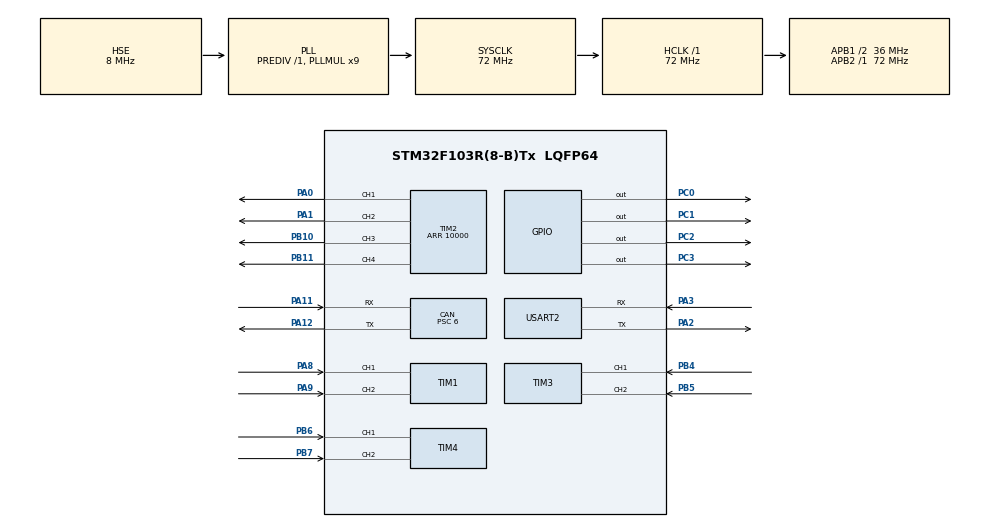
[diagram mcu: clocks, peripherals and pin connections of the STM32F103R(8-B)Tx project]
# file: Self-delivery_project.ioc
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CAN.BS1=CAN_BS1_10TQ
CAN.CalculateBaudRate=499999
CAN.CalculateTimeBit=2000
CAN.CalculateTimeQuantum=166.66666666666669
CAN.Prescaler=6
Mcu.Family=STM32F1
Mcu.Name=STM32F103R(8-B)Tx
Mcu.Package=LQFP64
NVIC.CAN1_RX1_IRQn=true\:0\:0\:false\:false\:true\:true\:true\:true
NVIC.PriorityGroup=NVIC_PRIORITYGROUP_4
NVIC.USB_HP_CAN1_TX_IRQn=true\:0\:0\:false\:false\:true\:true\:true\:true
NVIC.USB_LP_CAN1_RX0_IRQn=true\:0\:0\:false\:false\:true\:true\:true\:true
PA0-WKUP.Signal=S_TIM2_CH1_ETR
PA1.Signal=S_TIM2_CH2
PA11.Mode=CAN_Activate
PA11.Signal=CAN_RX
PA12.Mode=CAN_Activate
PA12.Signal=CAN_TX
PA13.Mode=Serial_Wire
PA13.Signal=SYS_JTMS-SWDIO
PA14.Mode=Serial_Wire
PA14.Signal=SYS_JTCK-SWCLK
PA2.Mode=Asynchronous
PA2.Signal=USART2_TX
PA3.Mode=Asynchronous
PA3.Signal=USART2_RX
PA8.Signal=S_TIM1_CH1
PA9.Signal=S_TIM1_CH2
PB10.Signal=S_TIM2_CH3
PB11.Signal=S_TIM2_CH4
PB4.Signal=S_TIM3_CH1
PB5.Signal=S_TIM3_CH2
PB6.Signal=S_TIM4_CH1
PB7.Signal=S_TIM4_CH2
PC0.GPIO_Speed=GPIO_SPEED_FREQ_MEDIUM
PC0.Signal=GPIO_Output
PC1.GPIO_Speed=GPIO_SPEED_FREQ_MEDIUM
PC1.Signal=GPIO_Output
PC2.GPIO_Speed=GPIO_SPEED_FREQ_MEDIUM
PC2.Signal=GPIO_Output
PC3.GPIO_Speed=GPIO_SPEED_FREQ_MEDIUM
PC3.Signal=GPIO_Output
PD0-OSC_IN.Mode=HSE-External-Oscillator
PD0-OSC_IN.Signal=RCC_OSC_IN
PD1-OSC_OUT.Mode=HSE-External-Oscillator
PD1-OSC_OUT.Signal=RCC_OSC_OUT
ProjectManager.HeapSize=0x200
ProjectManager.StackSize=0x400
ProjectManager.TargetToolchain=STM32CubeIDE
RCC.AHBFreq_Value=72000000
RCC.APB1CLKDivider=RCC_HCLK_DIV2
RCC.APB1Freq_Value=36000000
RCC.APB1TimFreq_Value=72000000
RCC.APB2Freq_Value=72000000
RCC.APB2TimFreq_Value=72000000
RCC.HCLKFreq_Value=72000000
RCC.PLLMUL=RCC_PLL_MUL9
RCC.PLLSourceVirtual=RCC_PLLSOURCE_HSE
RCC.SYSCLKFreq_VALUE=72000000
RCC.SYSCLKSource=RCC_SYSCLKSOURCE_PLLCLK
RCC.USBFreq_Value=72000000
SH.S_TIM1_CH1.0=TIM1_CH1,Encoder_Interface
SH.S_TIM1_CH2.0=TIM1_CH2,Encoder_Interface
SH.S_TIM2_CH1_ETR.0=TIM2_CH1,PWM Generation1 CH1
SH.S_TIM2_CH2.0=TIM2_CH2,PWM Generation2 CH2
SH.S_TIM2_CH3.0=TIM2_CH3,PWM Generation3 CH3
SH.S_TIM2_CH4.0=TIM2_CH4,PWM Generation4 CH4
SH.S_TIM3_CH1.0=TIM3_CH1,Encoder_Interface
SH.S_TIM3_CH2.0=TIM3_CH2,Encoder_Interface
SH.S_TIM4_CH1.0=TIM4_CH1,Encoder_Interface
SH.S_TIM4_CH2.0=TIM4_CH2,Encoder_Interface
TIM1.EncoderMode=TIM_ENCODERMODE_TI12
TIM2.Channel-PWM\ Generation1\ CH1=TIM_CHANNEL_1
TIM2.Channel-PWM\ Generation2\ CH2=TIM_CHANNEL_2
TIM2.Channel-PWM\ Generation3\ CH3=TIM_CHANNEL_3
TIM2.Channel-PWM\ Generation4\ CH4=TIM_CHANNEL_4
TIM2.Period=10000
TIM3.EncoderMode=TIM_ENCODERMODE_TI12
TIM4.EncoderMode=TIM_ENCODERMODE_TI12
USART2.VirtualMode=VM_ASYNC
board=custom

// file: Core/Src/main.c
/* USER CODE BEGIN Header */
/**
  ******************************************************************************
  * @file    main.c
  * @brief   STM32 모터 슬레이브 — CAN 수신 + 메카넘 4륜 독립 제어 (v4)
  ******************************************************************************
  *
  *  CAN 수신 (Pi -> STM32, ID 0x123, DLC 8):
  *    Byte 0-1: int16_t FL   Byte 2-3: int16_t FR
  *    Byte 4-5: int16_t RL   Byte 6-7: int16_t RR      (-9999 ~ +9999)
  *
  *  CAN 송신 (STM32 -> Pi, ID 0x124):
  *    USE_RR_ENCODER 0 -> DLC 4 : [FL ticks][FR ticks]
  *    USE_RR_ENCODER 1 -> DLC 6 : [FL][FR][RR]
  *
  *  메인 루프 타이밍:
  *    10ms : Motor_PID_Update()        엔코더 -> PID -> PWM
  *    20ms : Motor_Send_Feedback_CAN() 엔코더 틱 -> Pi
  *   1000ms: 상태 요약 1줄
  *
  *  ══════════════════════════════════════════════════════════════════════
  *  ★ v4 에서 고친 것 (구버전 대비)
  *  ══════════════════════════════════════════════════════════════════════
  *
  *  [1] PWM 시작을 TIM2 4채널로
  *      구: HAL_TIM_PWM_Start(&htim1, CH1/CH2) + (&htim2, CH1/CH2)
  *      신: HAL_TIM_PWM_Start(&htim2, CH1~CH4)
  *      TIM1 은 Encoder Mode 가 되었으므로 PWM_Start 를 호출하면
  *      엔코더 입력이 망가집니다. 반드시 지워야 합니다.
  *
  *  [2] ★ CAN 수신마다 찍던 printf 제거 — 이게 제일 중요합니다
  *      구: while(1) 안에서 CAN 이 올 때마다
  *          printf("[CAN RX] FL=%+6d ...") 를 호출
  *      문제: 약 45자 x 115200 baud = **3.9 ms 블로킹**.
  *            Pi 가 50 Hz(20 ms)로 보내므로 루프 시간의 20% 를 UART 가 먹습니다.
  *            10 ms PID 주기가 그만큼 밀리고, 최악에는 건너뜁니다.
  *            UART 가 물리적으로 막히면 HAL_MAX_DELAY 로 영원히 갇혀
  *            PID 도 워치독도 멈춥니다 = 마지막 PWM 유지 = 폭주.
  *      신: 완전 제거. 진단은 1 Hz 요약으로만.
  *
  *  [3] Error_Handler 에서 모터를 먼저 세움
  *      구: __disable_irq(); while(1){}   <- PWM 레지스터가 그대로 유지됨
  *          즉 에러가 나면 **마지막 속도로 계속 달립니다.**
  *      신: Motor_Stop() 을 먼저 호출한 뒤 정지.
  *
  *  [4] 부팅 배너에 버전/안전상한/이득을 출력
  *      "지금 보드에 어느 빌드가 올라가 있는가" 를 1초에 확인하기 위함.
  ******************************************************************************
  */
/* USER CODE END Header */
#include "main.h"
#include "can.h"
#include "tim.h"
#include "usart.h"
#include "gpio.h"

/* USER CODE BEGIN Includes */
#include "motor.h"
/* USER CODE END Includes */

/* USER CODE BEGIN PD */
#define STATUS_PRINT_PERIOD_MS   1000U

/**
 * ★ 디버그 UART 컴파일 스위치
 *
 *  1 : USART2(PA2/PA3) 사용. printf 동작.
 *  0 : printf 를 전부 무효화. USART2 를 ioc 에서 끈 경우 이걸로 두면
 *      usart.c/h 가 없어도 빌드가 통과합니다.
 *
 *  [왜 스위치를 두는가]
 *    이 프로젝트에서 ioc 와 코드가 어긋난 적이 여러 번 있었습니다.
 *    USART2 가 Disable 인 상태에서 재생성하면 MX_USART2_UART_Init 이
 *    사라져 링크 에러가 납니다. 그때 이 값을 0 으로 두면 즉시 빌드됩니다.
 */
#define DEBUG_UART               1

#if DEBUG_UART
  #include <stdio.h>
  #define DBG(...)   printf(__VA_ARGS__)
#else
  #define DBG(...)   ((void)0)
#endif
/* USER CODE END PD */

/* USER CODE BEGIN PV */
/* ★ volatile: 아래 4개는 CAN 수신 ISR 에서 쓰이고 메인 루프에서 읽힙니다.
 *   volatile 이 없으면 컴파일러가 "메인 루프에서 바뀌지 않는다" 고 판단해
 *   레지스터에 캐시해 버려, 새 명령을 영원히 못 보게 될 수 있습니다. */
volatile uint8_t dataReceived = 0;
volatile int16_t rxFL = 0;
volatile int16_t rxFR = 0;
volatile int16_t rxRL = 0;
volatile int16_t rxRR = 0;

/* 메인 루프 타이밍 */
static uint32_t last_pid_tick    = 0;
static uint32_t last_fb_tick     = 0;
static uint32_t last_status_tick = 0;
/* USER CODE END PV */

void SystemClock_Config(void);
/* USER CODE BEGIN PFP */
void CAN_filter(void);
/* USER CODE END PFP */

int main(void)
{

  /* MCU Configuration--------------------------------------------------------*/
  HAL_Init();

  SystemClock_Config();

  /* Initialize all configured peripherals */
  MX_GPIO_Init();
  MX_TIM1_Init();          /* ★ Encoder (RR). PWM 아님 */
  MX_TIM2_Init();          /* ★ PWM x4 */
  MX_CAN_Init();
#if DEBUG_UART
  MX_USART2_UART_Init();   /* PA2/PA3 디버그 UART */
#endif
  MX_TIM3_Init();          /* Encoder FL */
  MX_TIM4_Init();          /* Encoder FR */

  /* USER CODE BEGIN 2 */

  /* printf 버퍼링 비활성화 — 즉시 출력 보장 */
#if DEBUG_UART
  setvbuf(stdout, NULL, _IONBF, 0);
#endif

  /* ── 부팅 배너 ─────────────────────────────────────────────────────
   *  여기서만 길게 찍습니다. 주행 중에는 절대 이렇게 찍지 않습니다. */
  DBG("\r\n");
  DBG("========================================================\r\n");
  DBG("[BOOT] STM32 Motor v4  --  4ch independent mecanum\r\n");
  DBG("  PWM  TIM2  CH1=PA0(RL) CH2=PA1(RR) CH3=PB10(FL) CH4=PB11(FR)\r\n");
  DBG("  Enc  TIM3=FL  TIM4=FR  TIM1=%s\r\n",
         USE_RR_ENCODER ? "RR (active)" : "RR (reserved)");
  DBG("  CAN  RX 0x123 (DLC8)  TX 0x124 (DLC%d)\r\n",
         USE_RR_ENCODER ? 6 : 4);
  DBG("  SAFE PWM_MAX=%d  SLEW=%d/cycle  STALL=%lums  WD=%lums\r\n",
         (int)MOTOR_PWM_SAFE_MAX, (int)MOTOR_PWM_SLEW,
         (unsigned long)STALL_HOLD_MS, (unsigned long)CMD_TIMEOUT_MS);
  DBG("  CTRL CPR=%lu  MAX_RPM=%.0f  KP=%.2f KI=%.2f KD=%.2f\r\n",
         (unsigned long)ENCODER_CPR, (double)MOTOR_MAX_RPM,
         (double)MOTOR_KP, (double)MOTOR_KI, (double)MOTOR_KD);
  DBG("========================================================\r\n");

  /* ── CAN 준비 ─────────────────────────────────────────────────────── */
  CAN_filter();

  if (HAL_CAN_Start(&hcan) != HAL_OK)
    Error_Handler();

  if (HAL_CAN_ActivateNotification(&hcan, CAN_IT_RX_FIFO0_MSG_PENDING) != HAL_OK)
    Error_Handler();

  /* ── PWM 4채널 시작 — 전부 TIM2 ────────────────────────────────────
   *   TIM2_CH1 (PA0)  = RL
   *   TIM2_CH2 (PA1)  = RR
   *   TIM2_CH3 (PB10) = FL     ★ 구버전은 TIM1_CH1 (PA8)
   *   TIM2_CH4 (PB11) = FR     ★ 구버전은 TIM1_CH2 (PA9)          */
  HAL_TIM_PWM_Start(&htim2, TIM_CHANNEL_1);   /* RL */
  HAL_TIM_PWM_Start(&htim2, TIM_CHANNEL_2);   /* RR */
  HAL_TIM_PWM_Start(&htim2, TIM_CHANNEL_3);   /* FL */
  HAL_TIM_PWM_Start(&htim2, TIM_CHANNEL_4);   /* FR */

  /* ── 엔코더 시작 ──────────────────────────────────────────────────── */
  HAL_TIM_Encoder_Start(&htim3, TIM_CHANNEL_ALL);   /* FL  PB4,PB5 */
  HAL_TIM_Encoder_Start(&htim4, TIM_CHANNEL_ALL);   /* FR  PB6,PB7 */
#if USE_RR_ENCODER
  HAL_TIM_Encoder_Start(&htim1, TIM_CHANNEL_ALL);   /* RR  PA8,PA9 */
#endif

  /* ★ Motor_Init() 은 반드시 PWM_Start 이후.
   *   내부 s_hw_ready 게이트가 이 시점부터 PWM 레지스터 접근을 허용합니다. */
  Motor_Init();

  last_pid_tick    = HAL_GetTick();
  last_fb_tick     = HAL_GetTick();
  last_status_tick = HAL_GetTick();

  DBG("[SYSTEM] Ready. Waiting for CAN 0x123 ...\r\n\r\n");

  /* USER CODE END 2 */

  /* Infinite loop */
  while (1)
  {
    /* USER CODE BEGIN 3 */

    /* ── CAN 수신: 목표 갱신 ─────────────────────────────────────────
     *  ★ 여기에 printf 를 넣지 마십시오.
     *    45자 x 115200 baud = 3.9 ms 블로킹입니다. 50 Hz 로 들어오면
     *    루프의 20% 를 UART 가 먹어 10 ms PID 주기가 밀립니다.
     *    UART 가 막히면 HAL_MAX_DELAY 로 영원히 갇혀 PID/워치독이 멈추고
     *    마지막 PWM 이 그대로 유지됩니다 = 폭주.
     *    ISR 이 쓴 값을 지역 변수로 한 번에 복사해 원자성을 확보합니다. */
    if (dataReceived)
    {
      int16_t fl = rxFL, fr = rxFR, rl = rxRL, rr = rxRR;
      dataReceived = 0;
      Motor_Drive(fl, fr, rl, rr);
    }

    uint32_t now = HAL_GetTick();

    /* ── 10ms: 엔코더 + 워치독 + 스톨 + PID + PWM ────────────────────── */
    if ((now - last_pid_tick) >= PID_PERIOD_MS)
    {
      Motor_PID_Update();
      last_pid_tick = now;
    }

    /* ── 20ms: 엔코더 틱 -> Pi ───────────────────────────────────────── */
    if ((now - last_fb_tick) >= CAN_FEEDBACK_PERIOD_MS)
    {
      Motor_Send_Feedback_CAN();
      last_fb_tick = now;
    }

    /* ── 1000ms: 상태 요약 1줄 ────────────────────────────────────────
     *  1초에 1회 x 약 4 ms = 0.4% 부하. 이 정도는 안전합니다. */
    if ((now - last_status_tick) >= STATUS_PRINT_PERIOD_MS)
    {
      last_status_tick = now;
      if (Motor_Watchdog_IsTripped())
      {
        DBG("[WD] command timeout - motors held off\r\n");
      }
      if (Motor_Stall_IsTripped())
      {
        DBG("[STALL] wheel blocked - motors cut. "
               "release command (all zero) to reset\r\n");
      }
    }
  }
  /* USER CODE END 3 */
}

void SystemClock_Config(void)
{
  RCC_OscInitTypeDef RCC_OscInitStruct = {0};
  RCC_ClkInitTypeDef RCC_ClkInitStruct = {0};

  /** Initializes the RCC Oscillators according to the specified parameters
  * in the RCC_OscInitTypeDef structure.
  */
  RCC_OscInitStruct.OscillatorType = RCC_OSCILLATORTYPE_HSE;
  RCC_OscInitStruct.HSEState = RCC_HSE_ON;
  RCC_OscInitStruct.HSEPredivValue = RCC_HSE_PREDIV_DIV1;
  RCC_OscInitStruct.HSIState = RCC_HSI_ON;
  RCC_OscInitStruct.PLL.PLLState = RCC_PLL_ON;
  RCC_OscInitStruct.PLL.PLLSource = RCC_PLLSOURCE_HSE;
  RCC_OscInitStruct.PLL.PLLMUL = RCC_PLL_MUL9;
  if (HAL_RCC_OscConfig(&RCC_OscInitStruct) != HAL_OK)
  {
    Error_Handler();
  }

  /** Initializes the CPU, AHB and APB buses clocks
  */
  RCC_ClkInitStruct.ClockType = RCC_CLOCKTYPE_HCLK|RCC_CLOCKTYPE_SYSCLK
                              |RCC_CLOCKTYPE_PCLK1|RCC_CLOCKTYPE_PCLK2;
  RCC_ClkInitStruct.SYSCLKSource = RCC_SYSCLKSOURCE_PLLCLK;
  RCC_ClkInitStruct.AHBCLKDivider = RCC_SYSCLK_DIV1;
  RCC_ClkInitStruct.APB1CLKDivider = RCC_HCLK_DIV2;   /* APB1 36MHz -> TIM2 클럭 72MHz */
  RCC_ClkInitStruct.APB2CLKDivider = RCC_HCLK_DIV1;

  if (HAL_RCC_ClockConfig(&RCC_ClkInitStruct, FLASH_LATENCY_2) != HAL_OK)
  {
    Error_Handler();
  }
}

/* USER CODE BEGIN 4 */

/* CAN 모든 메시지 통과 필터 */
void CAN_filter(void)
{
  CAN_FilterTypeDef canFilterConfig;
  canFilterConfig.FilterActivation     = CAN_FILTER_ENABLE;
  canFilterConfig.FilterBank           = 0;
  canFilterConfig.FilterMode           = CAN_FILTERMODE_IDMASK;
  canFilterConfig.FilterScale          = CAN_FILTERSCALE_32BIT;
  canFilterConfig.FilterIdHigh         = 0x0000;
  canFilterConfig.FilterIdLow          = 0x0000;
  canFilterConfig.FilterMaskIdHigh     = 0x0000;
  canFilterConfig.FilterMaskIdLow      = 0x0000;
  canFilterConfig.FilterFIFOAssignment = CAN_RX_FIFO0;

  if (HAL_CAN_ConfigFilter(&hcan, &canFilterConfig) != HAL_OK)
  {
    Error_Handler();
  }
}

/**
  * @brief 라즈베리파이 CAN 명령(0x123) 수신 콜백
  *
  * ★ ISR 입니다. printf 나 긴 연산을 절대 넣지 마십시오.
  *   값만 복사하고 즉시 빠져나옵니다.
  */
void HAL_CAN_RxFifo0MsgPendingCallback(CAN_HandleTypeDef *hcan_h)
{
  CAN_RxHeaderTypeDef rxHeader;
  uint8_t             rxData[8];

  if (HAL_CAN_GetRxMessage(hcan_h, CAN_RX_FIFO0, &rxHeader, rxData) != HAL_OK)
    return;

  if (rxHeader.IDE != CAN_ID_STD)      return;
  if (rxHeader.RTR != CAN_RTR_DATA)    return;
  if (rxHeader.StdId != CAN_COMMAND_ID) return;
  /* ★ DLC 검사 — 8바이트가 아니면 우리 프로토콜이 아닙니다.
   *   이게 없으면 짧은 프레임에서 rxData 의 초기화 안 된 뒷부분을 읽습니다. */
  if (rxHeader.DLC != 8U)              return;

  rxFL = (int16_t)((rxData[0] << 8) | rxData[1]);
  rxFR = (int16_t)((rxData[2] << 8) | rxData[3]);
  rxRL = (int16_t)((rxData[4] << 8) | rxData[5]);
  rxRR = (int16_t)((rxData[6] << 8) | rxData[7]);
  dataReceived = 1;
}

/* USER CODE END 4 */

void Error_Handler(void)
{
  /* USER CODE BEGIN Error_Handler_Debug */
  /* ★ 인터럽트를 끄기 **전에** 모터를 세웁니다.
   *   구버전은 곧바로 __disable_irq() + while(1) 이라, 에러가 난 순간의
   *   PWM 레지스터 값이 그대로 유지됐습니다 = 마지막 속도로 계속 주행.
   *   PWM 타이머는 CPU 가 멈춰도 하드웨어가 계속 돌립니다. */
  Motor_Stop();
  __disable_irq();
  while (1)
  {
  }
  /* USER CODE END Error_Handler_Debug */
}

#ifdef  USE_FULL_ASSERT
/**
  * @brief  Reports the name of the source file and the source line number
  *         where the assert_param error has occurred.
  */
void assert_failed(uint8_t *file, uint32_t line)
{
  /* USER CODE BEGIN 6 */
  (void)file; (void)line;
  /* USER CODE END 6 */
}
#endif /* USE_FULL_ASSERT */
